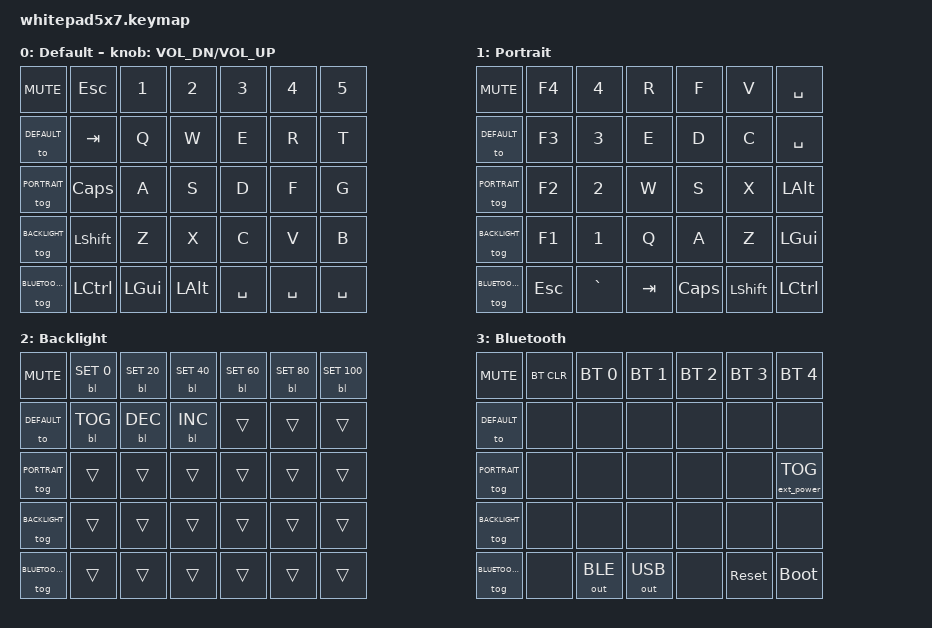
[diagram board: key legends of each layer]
#include <behaviors.dtsi>
#include <dt-bindings/zmk/keys.h>
#include <dt-bindings/zmk/bt.h>
#include <dt-bindings/zmk/outputs.h>
#include <dt-bindings/zmk/backlight.h>
#include <dt-bindings/zmk/ext_power.h>

#define DEFAULT   0
#define PORTRAIT  1
#define BACKLIGHT 2
#define BLUETOOTH 3

&left_encoder {
    status = "okay";
};

/ {
    sensors {
		compatible = "zmk,keymap-sensors";
		sensors = <&left_encoder>;
        triggers-per-rotation = <40>;
	};

    keymap {
        compatible = "zmk,keymap";

        default_layer {
            label = "Default";
            bindings = <
                &kp C_MUTE     &kp ESC     &kp N1    &kp N2    &kp N3     &kp N4     &kp N5
                &to DEFAULT    &kp TAB     &kp Q     &kp W     &kp E      &kp R      &kp T
                &tog PORTRAIT  &kp CAPS    &kp A     &kp S     &kp D      &kp F      &kp G
                &tog BACKLIGHT &kp LSHIFT  &kp Z     &kp X     &kp C      &kp V      &kp B
                &tog BLUETOOTH &kp LCTRL   &kp LGUI  &kp LALT  &kp SPACE  &kp SPACE  &kp SPACE
            >;

            sensor-bindings = <&inc_dec_kp C_VOL_DN C_VOL_UP>;
        };

        portrait_layer {
            label = "Portrait";
            bindings = <
                &kp C_MUTE     &kp F4   &kp N4     &kp R    &kp F     &kp V       &kp SPACE
                &to DEFAULT    &kp F3   &kp N3     &kp E    &kp D     &kp C       &kp SPACE
                &tog PORTRAIT  &kp F2   &kp N2     &kp W    &kp S     &kp X       &kp LALT
                &tog BACKLIGHT &kp F1   &kp N1     &kp Q    &kp A     &kp Z       &kp LGUI
                &tog BLUETOOTH &kp ESC  &kp GRAVE  &kp TAB  &kp CAPS  &kp LSHIFT  &kp LCTRL
            >;

        };

        backlight_layer {
            label = "Backlight";
            bindings = <
                &kp C_MUTE     &bl BL_SET 0  &bl BL_SET 20  &bl BL_SET 40  &bl BL_SET 60  &bl BL_SET 80  &bl BL_SET 100
                &to DEFAULT    &bl BL_TOG    &bl BL_DEC     &bl BL_INC     &trans         &trans         &trans
                &tog PORTRAIT  &trans        &trans         &trans         &trans         &trans         &trans
                &tog BACKLIGHT &trans        &trans         &trans         &trans         &trans         &trans
                &tog BLUETOOTH &trans        &trans         &trans         &trans         &trans         &trans
            >;

        };

        bt_layer {
            label = "Bluetooth";
            bindings = <
                &kp C_MUTE     &bt BT_CLR         &bt BT_SEL 0  &bt BT_SEL 1  &bt BT_SEL 2  &bt BT_SEL 3  &bt BT_SEL 4
                &to DEFAULT    &none              &none         &none         &none         &none         &none
                &tog PORTRAIT  &none              &none         &none         &none         &none         &ext_power EP_TOG
                &tog BACKLIGHT &none              &none         &none         &none         &none         &none
                &tog BLUETOOTH &none              &out OUT_BLE  &out OUT_USB  &none         &sys_reset    &bootloader
            >;

        };

    };
};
